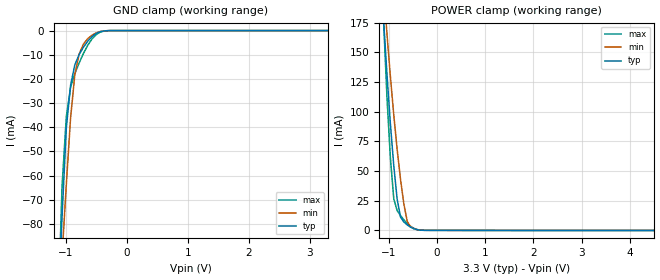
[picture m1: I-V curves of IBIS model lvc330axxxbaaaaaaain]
| IBIS Models Generator: Lattice Radiant Software (64-bit) 1.1.0.165.1
| Report Generate Date: May 17 2019
| Report Generate Time: 16:59:10
|IBIS file ice40up.ibs
|Lattice Semiconductor Corporation
[IBIS ver]   4.2
[File Name]   Tutorial_1_impl_1.ibs
[File Rev]   2.0
[Date]   1/26/2018
[Source]   Simulation
[Notes]   Final IBIS models
   The data below was generated using simulation of the
   input/output model files for the silicon.  Therefore,
   the data below is for reference and initial design
   purposes only.
|   The model applies to iCE40 ULTRA PLUS.
   Lattice Semiconductor grants permission to use this
   data for use in printed circuit design using this
   Lattice programmable logic device.  Other use of this
   code, including the selling or duplication of any
   portion is strictly prohibited.
|   NAMING CONVENTION
   The IBIS [Model] header is limited by the specification to a
   total of characters.  With such a set of characters available
   for naming models it becomes important to attempt to
   meaningfully encode the IO standards so they fit within the
   twenty character limit.  It would seem that twenty characters
   would provide room enough for describing IO's.  However, the
   PLD IO structure continues to grow more and more complex.  The
   complexity is making the twenty characters insuffiently
   descriptive.  In order to overcome this issue the naming
   convention described below is implemented to resolve the issue.
The twenty character space is managed as follows:
   bbbvvvsdddprtaaaoixx
   b = standard
   v = voltage (x.xx V)
   s = slew code
   d = drive (xx.x ma)
   p = pullmode code
   r = impedance
   t = mipi hard dphy mode
   o = diff resistor code
   i = diff  current code
   x = reserved
   standard
   LVCMOS   lvc
   lvdse   lve
   slew
   na   a
   fast   f
   slow   s
   pullmode
   off   a
   100k   b
   3p3k   i
   6p8k   j
   10k   k
   impedance
   off   a
   mipi hard dphy mode
   off   a
   lp   l
   hs   h
   differential resistor
   off   a
   100   b
   differential current
   NA   a
   3.5   c
   Reserved   IO type
   in   input only (mipi: rx)
   ou   output (mipi: tx)
   io   I/O
   od   Open drain
   on   Inverting differential I/O
   (signal name only)
   op   Non-Inverting differential I/O
   (signal name only)
   Lattice Semiconductor Corporation
   5555 NE Moore Court
   Hillsboro, OR 97214
   U.S.A
   TEL: 1-800-Lattice (USA and Canada)
   408-826-6000 (other locations)
   web: http://www.latticesemi.com/
   email: techsupport@latticesemi.com
[Disclaimer] This IBIS source code is intended as a design reference
   which illustrates how the Lattice Semiconductor device operates.
   It is the user's responsibility to verify their design for
   consistency and functionality through the use of formal
   verification methods.  Lattice Semiconductor provides no warranty
   regarding the use or functionality of this data.
[Copyright]   Copyright 2018 by Lattice Semiconductor Corporation
|   Component ice40_ultra_plus
[Component]   ice40_ultra_plus
[Manufacturer]   UMC
[Package]
| SG48
| variable   Typ   Min   Max
R_pkg   294.15m   225.91m   395.17m
L_pkg   2.652nH   1.989nH   3.504nH
C_pkg   0.2807pF   0.2236pF   0.3481pF
[Pin]  signal_name   model_name   R_pin   L_pin   C_pin
47   number2[1]   lvc330axxxbaaaaaaain
45   number1[1]   lvc330axxxbaaaaaaain
44   number1[0]   lvc330axxxbaaaaaaain
46   number2[0]   lvc330axxxbaaaaaaain
| Models and submodels in the file (1): lvc330axxxbaaaaaaain (Input)
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[Model] lvc330axxxbaaaaaaain
Model_type Input
Polarity   Non-Inverting
Vinl =  0.800V
Vinh =  2.000V
C_comp   3.30pF   3.17pF   3.43pF
[Temperature Range]   25.000   0.125k   -40.000
[Voltage Range]   3.300V   3.140V   3.470V
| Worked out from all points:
|   GND clamp passes 1 mA (typ) near -0.48 V on its own axis
|   POWER clamp passes 1 mA (typ) near -0.45 V on its own axis
[GND_clamp]
|Voltage   I(typ)   I(min)   I(max)
-3.3V     -1.71A     -1.258A    -2.349A
-1.13V    -119.4mA   -124.7mA   -120.3mA
-1.06V    -76.88mA   -93.37mA   -64.39mA
-990mV    -40.35mA   -63.65mA   -35.62mA
-920mV    -22.6mA    -36.07mA   -23.38mA
-850mV    -14.14mA   -18.14mA   -17.79mA
-780mV    -9.909mA   -9.739mA   -13.41mA
-710mV    -6.894mA   -5.603mA   -9.501mA
-640mV    -4.428mA   -3.381mA   -6.138mA
-500mV    -1.198mA   -946.9uA   -1.648mA
-290mV    -17.2uA    -20.27uA   -19.28uA
3.3V      0A         0A         0A
[POWER_clamp]
|Voltage   I(typ)   I(min)   I(max)
-3.3V     2.101A     1.758A     3.757A
-1.11V    175.9mA    202.3mA    175mA
-1.04V    130.6mA    164.8mA    110.8mA
-970mV    89.47mA    129.5mA    60.8mA
-900mV    54.32mA    97.15mA    26.56mA
-830mV    26.33mA    68.22mA    16.68mA
-760mV    11.13mA    42.96mA    12.46mA
-690mV    7.047mA    22mA       8.842mA
-620mV    4.569mA    7.445mA    5.774mA
-480mV    1.311mA    1.375mA    1.631mA
-200mV    15.9uA     19.21uA    18.62uA
6.6V      -81.43uA   -54.99uA   -111.7uA
